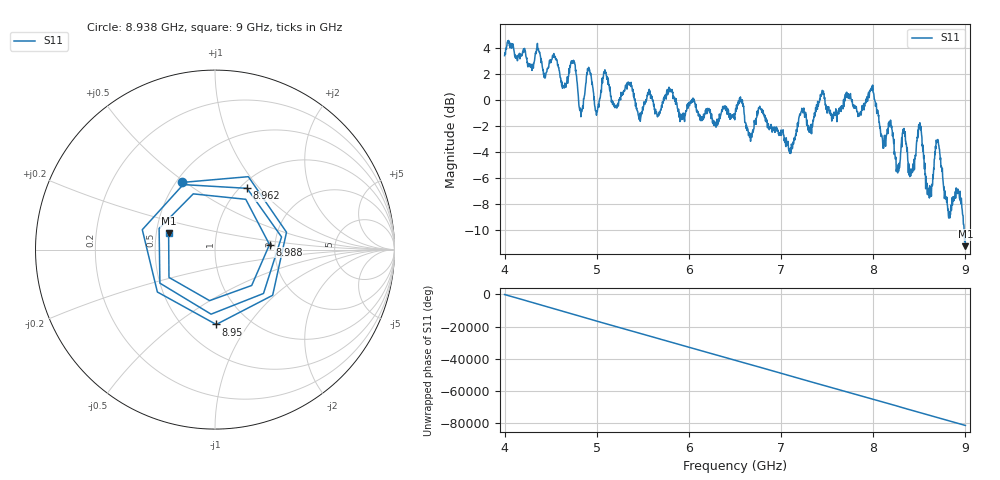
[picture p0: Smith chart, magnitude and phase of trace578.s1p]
! Created with skrf 1.8.0 (http://scikit-rf.org).
# Hz S RI R 50.0
!freq ReS11 ImS11
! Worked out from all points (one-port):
!   1601 points, 4 GHz to 9 GHz, reference 50 ohm
!   lowest |S11| = -11.2 dB at 9 GHz (marker M1), VSWR 1.76, Z = 29 + j5.76 ohm
!   |S11| at or under -10 dB: 8.986047 GHz to end of sweep
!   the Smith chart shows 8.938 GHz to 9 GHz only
!   S11 on the Smith chart (normalised r, x): 8.938 GHz: 0.54, +0.49; 8.95 GHz: 0.71, -0.72; 8.962 GHz: 1.08, +0.86; 8.988 GHz: 1.87, +0.11; 9 GHz: 0.58, +0.12
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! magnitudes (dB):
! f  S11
! 4 GHz  3.4
! 4.544 GHz  3.3
! 4.625 GHz  1.4
! 4.741 GHz  2.9
! 4.828 GHz  -1.3
! 4.912 GHz  2.5
! 5 GHz  -0.8
! 5.091 GHz  2.3
! 5.25 GHz  0.2
! 5.875 GHz  -0.6
! 6.5 GHz  -1.0
! 7.125 GHz  -3.6
! 7.441 GHz  0.5
! 7.562 GHz  -1.3
! 7.75 GHz  0.4
! 7.988 GHz  1.1
! 8.109 GHz  -3.3
! 8.375 GHz  -4.6
! 8.422 GHz  -5.4
! 8.503 GHz  -2.1
! 8.594 GHz  -7.2
! 8.694 GHz  -3.2
! 8.812 GHz  -8.4
! 8.938 GHz  -7.6
! 8.95 GHz  -7.6
! 8.962 GHz  -8.3
! 8.988 GHz  -10.3
! 9 GHz  -11.2
